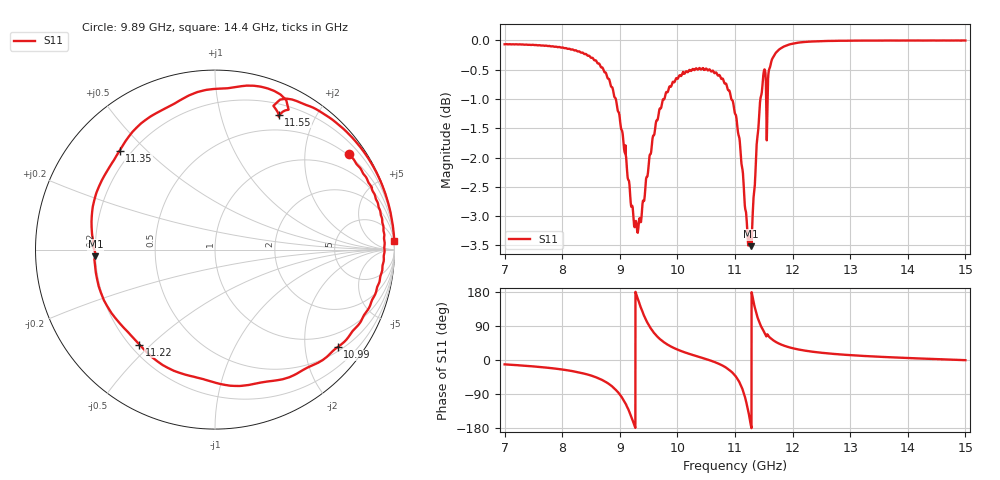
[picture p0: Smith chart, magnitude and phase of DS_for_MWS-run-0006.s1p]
! TOUCHSTONE file generated by CST DESIGN STUDIO
! Date and time: Mon Feb 10 16:50:51 2025
! Project name: C:\Work\MatlabApps\UnitCellType2OptimizationMatlab\CST\unitcell.cst
! Tree item: Tasks\Sweep1\SPara1\S-Parameters
! Header version: 2024
! Port assignment regex: !\s*Touchstone port\s*([0-9]+)\s*=\s*(CST MWS port|CST DES external port|CST DES block port)\s*(.+)\s* \(\"(.*)\"\)(\s*mode\s*([0-9]+))?.*
! Touchstone port assignment:
! Touchstone port 1 = CST DES external port 1 ("")
# GHz S MA R 50
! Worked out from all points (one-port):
!   4001 points, 7 GHz to 15 GHz, reference 50 ohm
!   lowest |S11| = -3.5 dB at 11.28 GHz (marker M1), VSWR 5.01, Z = 9.99 - j1.32 ohm
!   |S11| at or under -10 dB: nowhere
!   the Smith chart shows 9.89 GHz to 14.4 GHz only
!   S11 on the Smith chart (normalised r, x): 9.89 GHz: 0.48, +3.06; 10.99 GHz: 0.60, -2.75; 11.22 GHz: 0.24, -0.46; 11.35 GHz: 0.16, +0.42; 11.55 GHz: 0.31, +1.53; 14.4 GHz: 0, +40
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7  0.9925 -11.5
8  0.9863 -25.1
8.65  0.9541 -49.7
8.836  0.9179 -66.2
9  0.8584 -91.3
9.136  0.7635 -126.5
9.216  0.7224 -156.0
9.294  0.6932 169.0
9.392  0.7239 128.3
9.5  0.7826 93.3
9.672  0.864 59.1
9.89  0.9135 35.5
10  0.9273 27.6
10.642  0.9379 -5.3
10.986  0.8724 -38.5
11  0.8659 -40.7
11.136  0.7722 -79.8
11.22  0.6764 -128.5
11.282  0.6672 -176.8
11.352  0.7654 134.0
11.442  0.8922 92.4
11.554  0.8313 64.7
11.738  0.9791 45.2
12  0.9937 31.1
13  0.9996 12.8
14  0.9999 5.2
14.396  0.9999 2.9
15  0.9999 -0.4
